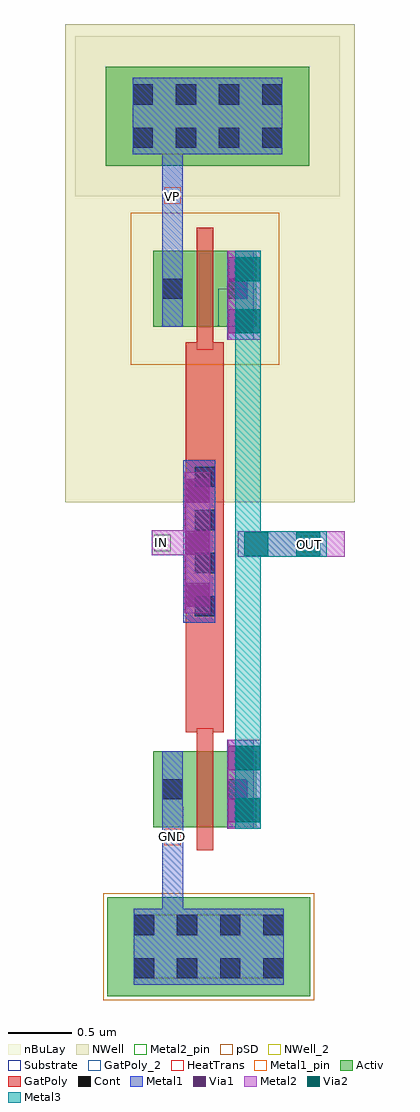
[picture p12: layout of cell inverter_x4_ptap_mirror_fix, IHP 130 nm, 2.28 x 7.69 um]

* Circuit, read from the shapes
.subckt inverter_x4_ptap_mirror_fix GND IN OUT VP
XM1 OUT IN GND GND sg13_lv_nmos w=0.6u l=0.13u
XM2 OUT IN VP VP sg13_lv_pmos w=0.6u l=0.13u
.ends

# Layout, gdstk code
import gdstk
lib = gdstk.Library(unit=1e-6, precision=1e-09)
def R(c, l, rs):  # rectangles x0, y0, x1, y1
    for r in rs: c.add(gdstk.rectangle(r[:2], r[2:], *l))
def A(c, l, x, y, w, h, nx, ny, dx, dy):  # array of equal rectangles
    R(c, l, [(x+i*dx, y+j*dy, x+i*dx+w, y+j*dy+h) for i in range(nx) for j in range(ny)])
Activ = (1, 0)
GatPoly = (5, 0)
GatPoly_2 = (5, 2)
Cont = (6, 0)
Metal1 = (8, 0)
Metal1_pin = (8, 2)
Metal2 = (10, 0)
Metal2_pin = (10, 2)
pSD = (14, 0)
Via1 = (19, 0)
Via2 = (29, 0)
Metal3 = (30, 0)
NWell = (31, 0)
NWell_2 = (31, 2)
nBuLay = (32, 0)
Substrate = (40, 0)
HeatTrans = (51, 0)

via_2_6 = lib.new_cell('Via$2$6')
R(via_2_6, Metal2, [(-0.1,-0.35,0.1,0.35)])
R(via_2_6, Via2, [(-0.095,-0.3,0.095,-0.11), (-0.095,0.11,0.095,0.3)])
R(via_2_6, Metal3, [(-0.1,-0.35,0.1,0.35)])

via_28 = lib.new_cell('Via$28')
R(via_28, Metal1, [(-0.105,-0.35,0.105,0.35)])
R(via_28, Metal2, [(-0.1,-0.35,0.1,0.35)])
R(via_28, Via1, [(-0.095,-0.3,0.095,-0.11), (-0.095,0.11,0.095,0.3)])

via_6_3 = lib.new_cell('Via$6$3')
R(via_6_3, Metal1, [(-0.105,-0.555,0.105,0.555)])
R(via_6_3, Metal2, [(-0.1,-0.555,0.1,0.555)])
A(via_6_3, Via1, -0.095, -0.505, 0.19, 0.19, 1, 3, 0, 0.41)

via_7_3 = lib.new_cell('Via$7$3')
R(via_7_3, Metal2, [(-0.35,-0.1,0.35,0.1)])
R(via_7_3, Via2, [(-0.3,-0.095,-0.11,0.095), (0.11,-0.095,0.3,0.095)])
R(via_7_3, Metal3, [(-0.35,-0.1,0.35,0.1)])

ntap1_25 = lib.new_cell('ntap1$25')
R(ntap1_25, Activ, [(0,0,1.6,0.78)])
A(ntap1_25, Cont, 0.21, 0.14, 0.16, 0.16, 4, 2, 0.34, 0.34)
R(ntap1_25, Metal1, [(0.21,0.09,1.39,0.69)])
R(ntap1_25, Metal1_pin, [(0.21,0.09,1.39,0.69), (0.21,0.14,1.39,0.64)])
R(ntap1_25, NWell, [(-0.24,-0.24,1.84,1.02), (0,0,1.6,0.78)])
R(ntap1_25, NWell_2, [(0,0,1.6,0.78)])
R(ntap1_25, nBuLay, [(-0.24,-0.24,1.84,1.02)])
ntap1_25.add(gdstk.Label('well', (0.8,0.01), layer=63, texttype=0))
ntap1_25.add(gdstk.Label('well', (0.8,0.01), layer=31, texttype=0))

nmos_8 = lib.new_cell('nmos$8')
R(nmos_8, Activ, [(0,0,0.3,0.3), (0,0,0.81,0.6), (0.51,0,0.81,0.3)])
R(nmos_8, GatPoly, [(0.34,-0.18,0.47,0.78)])
R(nmos_8, GatPoly_2, [(0.34,-0.18,0.47,0.78)])
R(nmos_8, Cont, [(0.07,0.22,0.23,0.38), (0.58,0.22,0.74,0.38)])
R(nmos_8, Metal1, [(0.07,0,0.23,0.6), (0.58,0,0.74,0.6)])
R(nmos_8, Metal1_pin, [(0.07,0,0.23,0.6), (0.58,0,0.74,0.6)])
R(nmos_8, HeatTrans, [(0.34,-0.18,0.47,0.78)])
nmos_8.add(gdstk.Label('nmos', (0.405,0.3), layer=63, texttype=0))
nmos_8.add(gdstk.Label('nmos', (0.405,0.3), layer=51, texttype=0))

pmos_6 = lib.new_cell('pmos$6')
R(pmos_6, Activ, [(0,0,0.3,0.3), (0,0,0.81,0.6), (0.51,0,0.81,0.3)])
R(pmos_6, GatPoly, [(0.34,-0.18,0.47,0.78), (0.34,-0.18,0.47,0.78)])
R(pmos_6, Cont, [(0.07,0.22,0.23,0.38), (0.58,0.22,0.74,0.38)])
R(pmos_6, Metal1, [(0.07,0,0.23,0.6), (0.07,0,0.23,0.6), (0.58,0,0.74,0.6), (0.58,0,0.74,0.6)])
R(pmos_6, pSD, [(-0.18,-0.3,0.99,0.9)])
R(pmos_6, NWell, [(-0.31,-0.31,1.12,0.91)])
R(pmos_6, Substrate, [(0.51,0,0.81,0.3)])
R(pmos_6, HeatTrans, [(0.34,-0.18,0.47,0.78)])
pmos_6.add(gdstk.Label('pmos', (0.405,0.3), layer=63, texttype=0))
pmos_6.add(gdstk.Label('pmos', (0.405,0.3), layer=51, texttype=0))

via_5_14 = lib.new_cell('Via$5$14')
R(via_5_14, GatPoly, [(-0.15,-0.66,0.15,0.66)])
A(via_5_14, Cont, -0.08, -0.59, 0.16, 0.16, 1, 4, 0, 0.34)
R(via_5_14, Metal1, [(-0.08,-0.64,0.08,0.64)])

ptap1_18 = lib.new_cell('ptap1$18')
R(ptap1_18, Activ, [(0,0,1.6,0.78)])
A(ptap1_18, Cont, 0.21, 0.14, 0.16, 0.16, 4, 2, 0.34, 0.34)
R(ptap1_18, Metal1, [(0.21,0.09,1.39,0.69), (0.21,0.14,1.39,0.64)])
R(ptap1_18, Metal1_pin, [(0.21,0.14,1.39,0.64)])
R(ptap1_18, pSD, [(-0.03,-0.03,1.63,0.81)])
R(ptap1_18, Substrate, [(0,0,1.6,0.78)])
ptap1_18.add(gdstk.Label('sub!', (0.8,0.01), layer=63, texttype=0))
ptap1_18.add(gdstk.Label('sub!', (0.8,0.01), layer=40, texttype=0))

inverter_x4_ptap_mirror_ = lib.new_cell('inverter_x4_ptap_mirror_fix')
R(inverter_x4_ptap_mirror_, GatPoly, [(-0.265,-2.855,-0.135,-2.655), (-0.35,-2.65,-0.05,-1.81), (-0.35,-0.49,-0.05,0.42)])
R(inverter_x4_ptap_mirror_, Metal1, [(-0.535,-4.45,-0.37,-3.805), (-0.535,-3.805,-0.37,-3.24), (-0.37,-1.79,-0.35,-0.51), (-0.35,-1.79,-0.28,-0.51), (-0.535,0.96,-0.375,1.26), (-0.535,1.245,-0.375,2.235)])
R(inverter_x4_ptap_mirror_, Metal1_pin, [(-0.52,-3.54,-0.39,-3.41), (-0.52,1.51,-0.39,1.64)])
R(inverter_x4_ptap_mirror_, Metal2, [(-0.02,-3.41,0.24,-2.71), (0.53,-1.27,0.9,-1.07), (-0.62,-1.26,-0.28,-1.06), (-0.02,0.44,0.24,1.14)])
R(inverter_x4_ptap_mirror_, Metal2_pin, [(0.555,-1.235,0.685,-1.105), (-0.6,-1.225,-0.47,-1.095)])
R(inverter_x4_ptap_mirror_, Metal3, [(0.04,-3.09,0.24,-2.63), (0.04,-2.7,0.24,-0.24), (0.04,-0.34,0.24,0.76)])
R(inverter_x4_ptap_mirror_, NWell, [(-1.3,-0.84,0.98,0.14), (-1.3,0.14,0.98,0.655), (-1.3,0.655,0.755,2.925), (0.755,0.655,0.98,2.925)])
inverter_x4_ptap_mirror_.add(gdstk.Reference(via_2_6, (0.14,-3.06)))
inverter_x4_ptap_mirror_.add(gdstk.Reference(via_28, (0.08,-3.06)))
inverter_x4_ptap_mirror_.add(gdstk.Reference(via_6_3, (-0.26,-1.16)))
inverter_x4_ptap_mirror_.add(gdstk.Reference(via_7_3, (0.41,-1.17)))
inverter_x4_ptap_mirror_.add(gdstk.Reference(via_2_6, (0.14,0.79)))
inverter_x4_ptap_mirror_.add(gdstk.Reference(via_28, (0.08,0.79)))
inverter_x4_ptap_mirror_.add(gdstk.Reference(ntap1_25, (-0.98,1.81)))
inverter_x4_ptap_mirror_.add(gdstk.Reference(nmos_8, (-0.605,-3.4)))
inverter_x4_ptap_mirror_.add(gdstk.Reference(pmos_6, (-0.605,0.54)))
inverter_x4_ptap_mirror_.add(gdstk.Reference(via_5_14, (-0.2,-1.15)))
inverter_x4_ptap_mirror_.add(gdstk.Reference(ptap1_18, (-0.97,-4.73)))
inverter_x4_ptap_mirror_.add(gdstk.Label('GND', (-0.455,-3.47), layer=8, texttype=25))
inverter_x4_ptap_mirror_.add(gdstk.Label('VP', (-0.455,1.57), layer=8, texttype=25))
inverter_x4_ptap_mirror_.add(gdstk.Label('OUT', (0.62,-1.17), layer=10, texttype=25))
inverter_x4_ptap_mirror_.add(gdstk.Label('IN', (-0.54,-1.16), layer=10, texttype=25))

lib.write_gds('inverter_x4_ptap_mirror_fix.gds')
